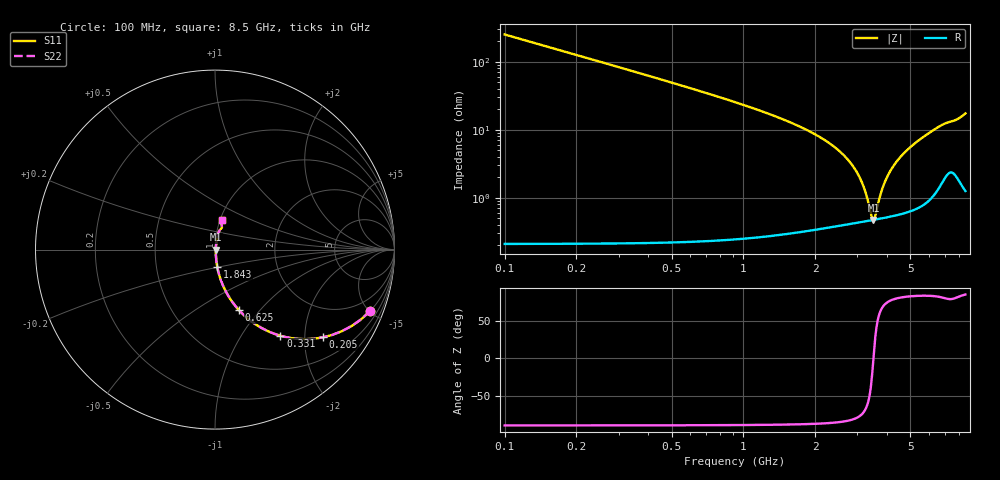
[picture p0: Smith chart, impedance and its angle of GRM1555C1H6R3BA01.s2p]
!Murata Part Number: GRM1555C1H6R3BA01
!These Parameters are Measured in Series Mode Connection
!Data Generated on Mar 30, 2021
!  o--ll--o
!Port1  Port2
!  o------o
!Operation Temp=25[degC], DC Bias Voltage=0[V]
!Freq. Start=100[MHz] Stop=9[GHz] 401[Steps]
# Hz S RI R 50
!Freq.(Hz) S11(Real) S11(Imag) S21(Real) S21(Imag) S12(Real) S12(Imag) S22(Real) S22(Imag)
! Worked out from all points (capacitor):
!   401 points, 100 MHz to 8.5 GHz, reference 50 ohm
!   read as one part in series: C = 6.3 pF near 142 MHz
!   lowest |Z| = 471 mohm at 3.502 GHz (marker M1)
!   series resonance near 3.503 GHz, so ESL is about 330 pH
!   S11 on the Smith chart (normalised r, x): 100 MHz: 1.00, -5.05; 205 MHz: 1.00, -2.46; 331 MHz: 1.00, -1.51; 625 MHz: 1.00, -0.78; 1.843 GHz: 1.01, -0.20; 8.5 GHz: 1.03, +0.35
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1e8  0.8641 -0.3422  0.1359 0.3422  0.1359 0.3422  0.8641 -0.3422
2.05e8  0.6011 -0.4888  0.3989 0.4888  0.3989 0.4888  0.6011 -0.4888
3.31e8  0.3643 -0.4798  0.6357 0.4798  0.6357 0.4798  0.3643 -0.4798
4.57e8  0.2288 -0.4181  0.7712 0.4181  0.7712 0.4181  0.2288 -0.4181
6.25e8  0.1342 -0.338  0.8658 0.338  0.8658 0.338  0.1342 -0.338
9.61e8  0.0578 -0.2284  0.9422 0.2284  0.9422 0.2284  0.0578 -0.2284
1.507e9  0.021 -0.1333  0.979 0.1333  0.979 0.1333  0.021 -0.1333
1.843e9  0.0128 -0.0975  0.9872 0.0975  0.9872 0.0975  0.0128 -0.0975
2.494e9  0.00628 -0.0496  0.9937 0.0496  0.9937 0.0496  0.00628 -0.0496
2.914e9  0.00489 -0.0266  0.9951 0.0266  0.9951 0.0266  0.00489 -0.0266
3.166e9  0.00461 -0.0146  0.9954 0.0146  0.9954 0.0146  0.00461 -0.0146
3.439e9  0.00464 -0.00265  0.9954 0.00265  0.9954 0.00265  0.00464 -0.00265
3.502e9  0.00468 -2.34e-05  0.9953 2.34e-05  0.9953 2.34e-05  0.00468 -2.34e-05
3.565e9  0.00474 0.00256  0.9953 -0.00256  0.9953 -0.00256  0.00474 0.00256
3.733e9  0.00497 0.00927  0.995 -0.00927  0.995 -0.00927  0.00497 0.00927
3.88e9  0.00523 0.0149  0.9948 -0.0149  0.9948 -0.0149  0.00523 0.0149
4.069e9  0.00567 0.022  0.9943 -0.022  0.9943 -0.022  0.00567 0.022
4.3e9  0.00633 0.0303  0.9937 -0.0303  0.9937 -0.0303  0.00633 0.0303
4.888e9  0.00866 0.0505  0.9913 -0.0505  0.9913 -0.0505  0.00866 0.0505
5.707e9  0.014 0.0776  0.986 -0.0776  0.986 -0.0776  0.014 0.0776
7.114e9  0.0354 0.1181  0.9646 -0.1181  0.9646 -0.1181  0.0354 0.1181
8.5e9  0.0405 0.1644  0.9595 -0.1644  0.9595 -0.1644  0.0405 0.1644
